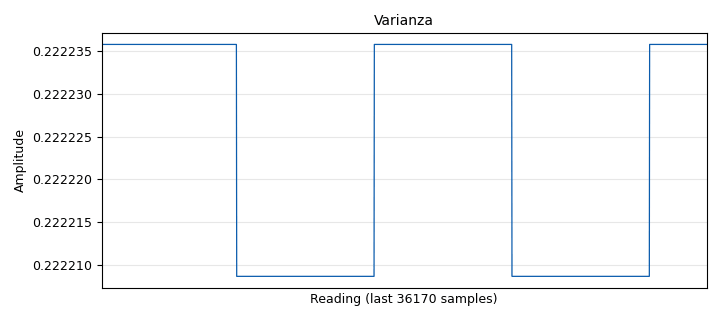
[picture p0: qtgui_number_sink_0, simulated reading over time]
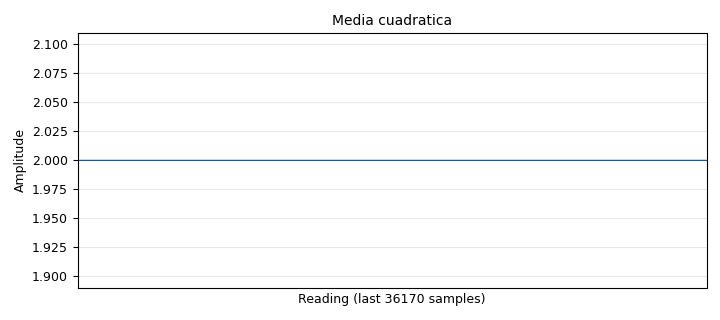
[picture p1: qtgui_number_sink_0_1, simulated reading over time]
options:
  parameters:
    author: Administrador
    generate_options: qt_gui
    id: pryeba
    output_language: python
    title: Not titled yet
  states: {}

blocks:
- name: samp_rate
  id: variable
  parameters:
    value: '32000'
  states: {}
- name: blocks_vector_source_x_0_0
  id: blocks_vector_source_x
  parameters:
    repeat: 'True'
    type: float
    vector: (2,1,2)
  states: {}
- name: epy_block_1
  id: epy_block
  parameters:
    _source_code: |-
      import numpy as np
      from gnuradio import gr

      class blk(gr.sync_block):
          def __init__(self):
              gr.sync_block.__init__(
                  self,
                  name='Bloque_Estadistico',
                  in_sig=[np.float32],
                  out_sig=[np.float32, np.float32, np.float32, np.float32, np.float32]
              )

          def work(self, input_items, output_items):
              x = input_items[0]
              
              out_media = output_items[0]
              out_var   = output_items[1]
              out_std   = output_items[2]
              out_max   = output_items[3]
              out_rms   = output_items[4]

              N = len(x)
              if N > 0:
                  media_val = np.mean(x)
                  var_val   = np.var(x)
                  std_val   = np.std(x)
                  max_val   = np.max(x)
                  rms_val   = np.sqrt(np.mean(x**2))

                  out_media[:] = media_val
                  out_var[:]   = var_val
                  out_std[:]   = std_val
                  out_max[:]   = max_val
                  out_rms[:]   = rms_val

              return N
    alias: Bloque estadistico
  states: {}
- name: qtgui_number_sink_0
  id: qtgui_number_sink
  parameters:
    graph_type: qtgui.NUM_GRAPH_HORIZ
    max: '2'
    min: '-2'
    name: Varianza
    type: float
  states: {}
- name: qtgui_number_sink_0_1
  id: qtgui_number_sink
  parameters:
    graph_type: qtgui.NUM_GRAPH_HORIZ
    max: '2'
    min: '-2'
    name: Media cuadratica
    type: float
  states: {}
- name: qtgui_number_sink_0_2
  id: qtgui_number_sink
  parameters:
    graph_type: qtgui.NUM_GRAPH_HORIZ
    max: '2'
    min: '-2'
    name: Desviación Estándar
    type: float
  states: {}
- name: qtgui_number_sink_0_3
  id: qtgui_number_sink
  parameters:
    graph_type: qtgui.NUM_GRAPH_HORIZ
    max: '2'
    min: '-2'
    name: Media
    type: float
  states: {}
- name: qtgui_number_sink_0_4
  id: qtgui_number_sink
  parameters:
    graph_type: qtgui.NUM_GRAPH_HORIZ
    max: '2'
    min: '-2'
    name: RMS
    type: float
  states: {}

connections:
- [blocks_vector_source_x_0_0, '0', epy_block_1, '0']
- [epy_block_1, '0', qtgui_number_sink_0_3, '0']
- [epy_block_1, '1', qtgui_number_sink_0, '0']
- [epy_block_1, '2', qtgui_number_sink_0_2, '0']
- [epy_block_1, '3', qtgui_number_sink_0_1, '0']
- [epy_block_1, '4', qtgui_number_sink_0_4, '0']

metadata:
  file_format: 1
  grc_version: 3.10.12.0
